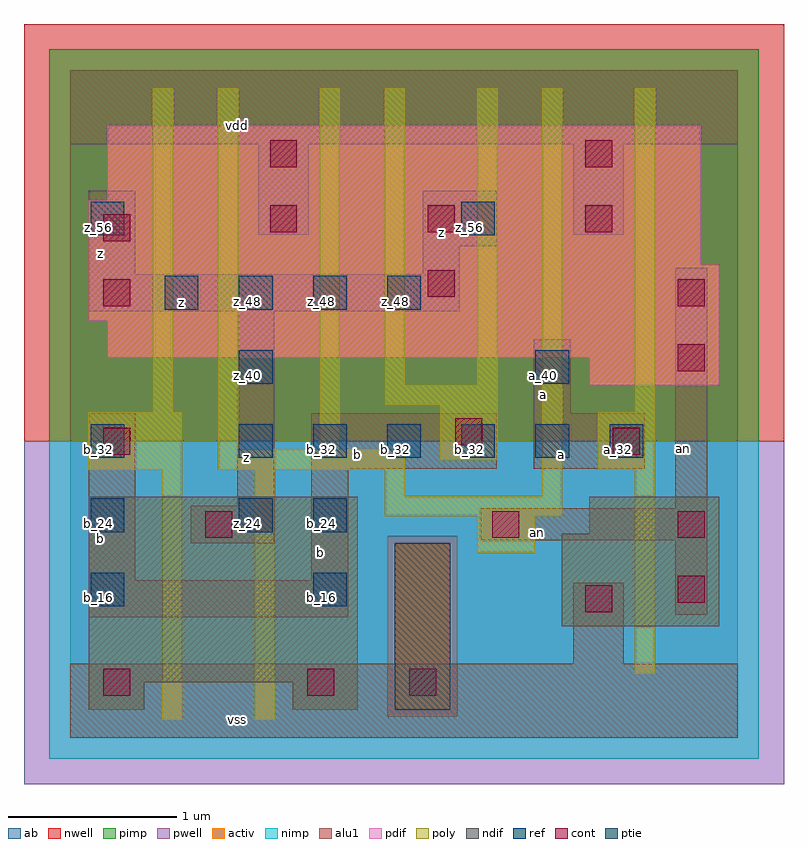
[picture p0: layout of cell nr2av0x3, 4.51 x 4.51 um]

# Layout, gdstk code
import gdstk
lib = gdstk.Library(unit=1e-6, precision=2.5e-09)
def R(c, l, rs):  # rectangles x0, y0, x1, y1
    for r in rs: c.add(gdstk.rectangle(r[:2], r[2:], *l))
def A(c, l, x, y, w, h, nx, ny, dx, dy):  # array of equal rectangles
    R(c, l, [(x+i*dx, y+j*dy, x+i*dx+w, y+j*dy+h) for i in range(nx) for j in range(ny)])
ndif = (3, 0)
pdif = (4, 0)
ptie = (6, 0)
ref = (24, 0)
cont = (25, 0)
pwell = (41, 0)
nwell = (42, 0)
activ = (43, 0)
pimp = (44, 0)
nimp = (45, 0)
poly = (46, 0)
alu1 = (49, 0)
ab = (63, 0)

nr2av0x3 = lib.new_cell('nr2av0x3')
R(nr2av0x3, ndif, [(0.11,0.165,0.44,0.33), (1.32,0.165,1.705,0.33), (0.11,0.33,1.705,1.43), (2.915,0.66,3.85,1.21), (3.08,1.21,3.85,1.43)])
R(nr2av0x3, pdif, [(3.08,2.09,3.85,2.255), (0.22,2.255,3.85,2.475), (0.11,2.475,3.85,2.805), (0.11,2.805,3.74,3.19), (0.22,3.19,3.74,3.63)])
R(nr2av0x3, ptie, [(1.925,0.165,2.255,1.155)])
A(nr2av0x3, ref, 0.12, 0.78, 0.2, 0.2, 1, 3, 0, 0.44)
A(nr2av0x3, ref, 1, 1.66, 0.2, 0.2, 6, 1, 0.44, 0)
A(nr2av0x3, ref, 0.56, 2.54, 0.2, 0.2, 4, 1, 0.44, 0)
R(nr2av0x3, ref, [(1.44,0.78,1.64,0.98), (1,1.22,1.2,1.42), (1.44,1.22,1.64,1.42), (1,2.1,1.2,2.3), (2.76,2.1,2.96,2.3), (0.12,2.98,0.32,3.18), (2.32,2.98,2.52,3.18)])
A(nr2av0x3, cont, 1.185, 3, 0.16, 0.16, 3, 1, 0.935, 0)
R(nr2av0x3, cont, [(0.195,0.25,0.355,0.41), (1.405,0.25,1.565,0.41), (2.01,0.25,2.17,0.41), (3.055,0.745,3.215,0.905), (3.605,0.8,3.765,0.96), (0.8,1.185,0.96,1.345), (2.505,1.185,2.665,1.345), (3.605,1.185,3.765,1.345), (0.195,1.68,0.355,1.84), (3.22,1.68,3.38,1.84), (2.285,1.735,2.445,1.895), (3.605,2.175,3.765,2.335), (0.195,2.56,0.355,2.72), (3.605,2.56,3.765,2.72), (2.12,2.615,2.28,2.775), (0.195,2.945,0.355,3.105), (1.185,3.385,1.345,3.545), (3.055,3.385,3.215,3.545)])
R(nr2av0x3, pwell, [(-0.275,-0.275,4.235,1.76)])
R(nr2av0x3, nwell, [(-0.275,1.76,4.235,4.235)])
R(nr2av0x3, activ, [(0.11,0.165,0.44,0.33), (1.32,0.165,1.705,0.33), (1.925,0.165,2.255,1.155), (0.11,0.33,1.705,1.43), (2.915,0.66,3.85,1.21), (3.08,1.21,3.85,1.43), (3.08,2.09,3.85,2.255), (0.22,2.255,3.85,2.475), (0.11,2.475,3.85,2.805), (0.11,2.805,3.74,3.19), (0.22,3.19,3.74,3.63)])
R(nr2av0x3, pimp, [(1.885,0.125,2.295,1.195), (-0.125,1.76,4.085,4.085)])
R(nr2av0x3, nimp, [(-0.125,-0.125,4.085,0.125), (-0.125,0.125,1.885,1.195), (2.295,0.125,4.085,1.195), (-0.125,1.195,4.085,1.76)])
R(nr2av0x3, poly, [(0.545,0.105,0.665,1.59), (1.095,0.105,1.215,1.59), (3.35,0.38,3.47,1.59), (2.415,1.095,2.755,1.315), (1.865,1.315,2.92,1.435), (1.865,1.435,1.985,1.59), (2.8,1.435,2.92,3.855), (0.105,1.59,0.665,1.93), (0.875,1.59,1.985,1.71), (3.13,1.59,3.47,1.93), (2.195,1.645,2.535,1.975), (0.875,1.71,0.995,3.855), (1.48,1.71,1.6,3.855), (0.49,1.93,0.61,3.855), (3.35,1.93,3.47,3.855), (1.865,1.975,2.535,2.095), (1.865,2.095,1.985,3.855), (2.415,2.095,2.535,3.855)])
R(nr2av0x3, alu1, [(0,0,3.96,0.44), (2.985,0.44,3.285,0.92), (0.11,0.715,1.65,0.935), (3.59,0.73,3.78,1.17), (0.11,0.935,0.385,1.925), (1.43,0.935,1.65,1.595), (0.715,1.155,1.21,1.375), (2.435,1.17,3.78,1.36), (3.59,1.36,3.78,2.79), (0.99,1.375,1.21,2.53), (1.43,1.595,2.53,1.925), (2.75,1.595,3.41,1.925), (2.75,1.925,2.97,2.365), (0.11,2.53,2.31,2.75), (0.11,2.75,0.385,3.245), (2.09,2.75,2.31,2.915), (2.09,2.915,2.53,3.245), (1.115,2.985,1.415,3.52), (2.985,2.985,3.285,3.52), (0,3.52,3.96,3.96)])
R(nr2av0x3, ab, [(0,0,3.96,3.96)])
nr2av0x3.add(gdstk.Label('vss', (0.99,0.11), layer=49, texttype=0))
nr2av0x3.add(gdstk.Label('an', (2.77,1.2175), layer=49, texttype=0))
nr2av0x3.add(gdstk.Label('an', (3.6375,1.7175), layer=49, texttype=0))
nr2av0x3.add(gdstk.Label('b', (1.485,1.1), layer=49, texttype=0))
nr2av0x3.add(gdstk.Label('a', (2.915,1.6775), layer=49, texttype=0))
nr2av0x3.add(gdstk.Label('b', (1.705,1.6775), layer=49, texttype=0))
nr2av0x3.add(gdstk.Label('a', (2.805,2.035), layer=49, texttype=0))
nr2av0x3.add(gdstk.Label('z', (1.045,1.6625), layer=49, texttype=0))
nr2av0x3.add(gdstk.Label('b', (0.1775,1.1825), layer=49, texttype=0))
nr2av0x3.add(gdstk.Label('z', (0.66,2.585), layer=49, texttype=0))
nr2av0x3.add(gdstk.Label('z', (2.2,2.9975), layer=49, texttype=0))
nr2av0x3.add(gdstk.Label('z', (0.1775,2.8725), layer=49, texttype=0))
nr2av0x3.add(gdstk.Label('vdd', (0.99,3.63), layer=49, texttype=0))
nr2av0x3.add(gdstk.Label('a_32', (3.25,1.71), layer=24, texttype=0))
nr2av0x3.add(gdstk.Label('a_40', (2.81,2.15), layer=24, texttype=0))
nr2av0x3.add(gdstk.Label('a_32', (2.81,1.71), layer=24, texttype=0))
nr2av0x3.add(gdstk.Label('z_56', (2.37,3.03), layer=24, texttype=0))
nr2av0x3.add(gdstk.Label('b_32', (2.37,1.71), layer=24, texttype=0))
nr2av0x3.add(gdstk.Label('z_56', (0.17,3.03), layer=24, texttype=0))
nr2av0x3.add(gdstk.Label('b_32', (0.17,1.71), layer=24, texttype=0))
nr2av0x3.add(gdstk.Label('b_24', (0.17,1.27), layer=24, texttype=0))
nr2av0x3.add(gdstk.Label('b_16', (0.17,0.83), layer=24, texttype=0))
nr2av0x3.add(gdstk.Label('z_48', (1.93,2.59), layer=24, texttype=0))
nr2av0x3.add(gdstk.Label('b_32', (1.93,1.71), layer=24, texttype=0))
nr2av0x3.add(gdstk.Label('z_48', (1.49,2.59), layer=24, texttype=0))
nr2av0x3.add(gdstk.Label('b_32', (1.49,1.71), layer=24, texttype=0))
nr2av0x3.add(gdstk.Label('b_24', (1.49,1.27), layer=24, texttype=0))
nr2av0x3.add(gdstk.Label('b_16', (1.49,0.83), layer=24, texttype=0))
nr2av0x3.add(gdstk.Label('z_48', (1.05,2.59), layer=24, texttype=0))
nr2av0x3.add(gdstk.Label('z_40', (1.05,2.15), layer=24, texttype=0))
nr2av0x3.add(gdstk.Label('z_32', (1.05,1.71), layer=24, texttype=0))
nr2av0x3.add(gdstk.Label('z_24', (1.05,1.27), layer=24, texttype=0))
nr2av0x3.add(gdstk.Label('z_48', (0.61,2.59), layer=24, texttype=0))

lib.write_gds('nr2av0x3.gds')
